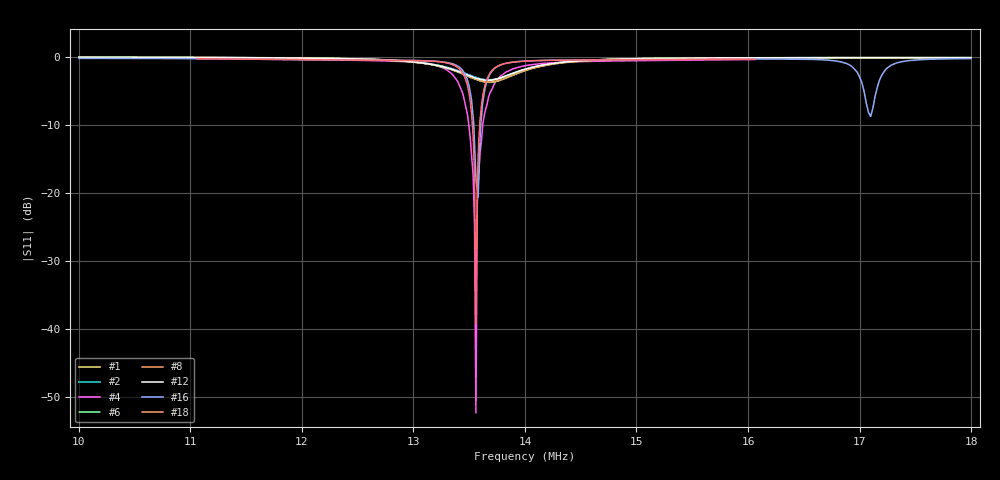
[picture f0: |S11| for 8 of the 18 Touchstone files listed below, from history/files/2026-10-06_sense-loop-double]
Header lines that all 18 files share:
# Hz S RI R 50
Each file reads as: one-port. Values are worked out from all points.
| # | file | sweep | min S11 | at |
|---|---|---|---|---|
| 1 | 1006_noAIT_probe-core1_final_rep1_nanovna-sweep-1791310201525.s1p | 10 MHz to 18 MHz | -3.5 dB | 13.67 MHz |
| 2 | 1006_noAIT_probe-core1_final_rep2_nanovna-sweep-1791310212957.s1p | 10 MHz to 18 MHz | -3.4 dB | 13.67 MHz |
| 3 | 1006_noAIT_probe-core1_final_rep3_nanovna-sweep-1791310235749.s1p | 10 MHz to 18 MHz | -3.4 dB | 13.68 MHz |
| 4 | lug-presweep_vna-sweep-1791314114368.s1p | 11.06 MHz to 16.06 MHz | -52.4 dB | 13.56 MHz |
| 5 | noAIT_double-sense-loop-probe-core1_rep1_nanovna-sweep-1791305176413.s1p | 10 MHz to 18 MHz | -3.6 dB | 13.6 MHz |
| 6 | noAIT_double-sense-loop_both-cores-probe_50+50ser_3x100sh_rep1_nanovna-sweep-1791308338638.s1p | 10 MHz to 15.6 MHz | -3.8 dB | 13.66 MHz |
| 7 | noAIT_double-sense-loop_both-cores-probe_50+50ser_3x100sh_rep2_nanovna-sweep-1791308431566.s1p | 10 MHz to 18 MHz | -3.7 dB | 13.69 MHz |
| 8 | noAIT_double-sense-loop_both-cores-probe_50+50ser_3x100sh_rep3_nanovna-sweep-1791308448982.s1p | 10 MHz to 18 MHz | -3.7 dB | 13.67 MHz |
| 9 | noAIT_double-sense-loop_core1-probe_50+50ser_3x100sh_rep1_nanovna-sweep-1791308068773.s1p | 10 MHz to 18 MHz | -3.5 dB | 13.66 MHz |
| 10 | noAIT_double-sense-loop_core1-probe_50+50ser_3x100sh_rep2_nanovna-sweep-1791308091735.s1p | 10 MHz to 18 MHz | -3.5 dB | 13.66 MHz |
| 11 | noAIT_double-sense-loop_core1-probe_50+50ser_3x100sh_rep2_nanovna-sweep-1791308225463.s1p | 10 MHz to 18 MHz | -3.5 dB | 13.67 MHz |
| 12 | noAIT_double-sense-loop_core1-probe_50+50ser_3x100sh_rep3_nanovna-sweep-1791308238834.s1p | 10 MHz to 18 MHz | -3.5 dB | 13.65 MHz |
| 13 | noAIT_double-sense-loop_core2-probe_50+50ser_3x100sh_rep1_nanovna-sweep-1791308278816.s1p | 10 MHz to 18 MHz | -3.4 dB | 13.68 MHz |
| 14 | noAIT_double-sense-loop_core2-probe_50+50ser_3x100sh_rep2_nanovna-sweep-1791308296237.s1p | 10 MHz to 18 MHz | -3.5 dB | 13.69 MHz |
| 15 | noAIT_double-sense-loop_core2-probe_50+50ser_3x100sh_rep3_nanovna-sweep-1791308305603.s1p | 10 MHz to 18 MHz | -3.4 dB | 13.68 MHz |
| 16 | post-90W-tuning-position_nanovna-sweep-1791317621656.s1p | 10 MHz to 18 MHz | -20.6 dB | 13.58 MHz |
| 17 | post-90W_retune_T123_L092_nanovna-sweep-1791317693076.s1p | 10 MHz to 18 MHz | -44.1 dB | 13.56 MHz |
| 18 | pre-POWER-sweeps_vna-sweep-1791316109336.s1p | 11.06 MHz to 16.06 MHz | -39.3 dB | 13.56 MHz |
